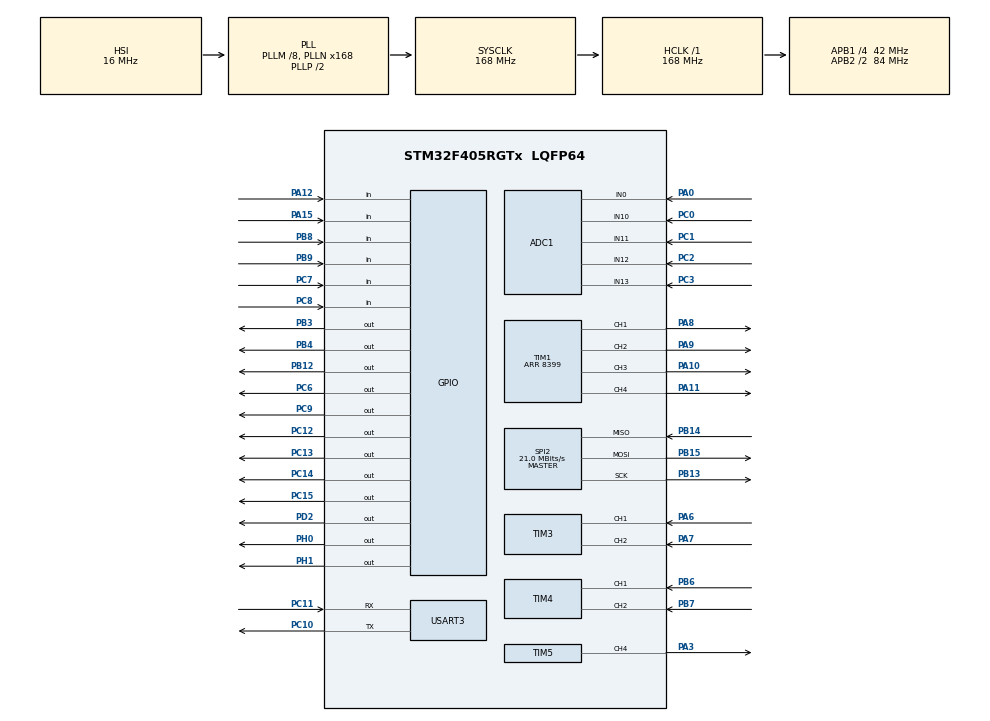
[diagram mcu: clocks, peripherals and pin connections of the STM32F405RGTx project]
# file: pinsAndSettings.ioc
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ADC1.Channel-0\#ChannelRegularConversion=ADC_CHANNEL_0
ADC1.Channel-1\#ChannelRegularConversion=ADC_CHANNEL_13
ADC1.Channel-2\#ChannelRegularConversion=ADC_CHANNEL_12
ADC1.Channel-3\#ChannelRegularConversion=ADC_CHANNEL_11
ADC1.Channel-4\#ChannelRegularConversion=ADC_CHANNEL_10
ADC1.ContinuousConvMode=ENABLE
ADC1.DMAContinuousRequests=ENABLE
ADC1.NbrOfConversion=5
ADC1.NbrOfConversionFlag=1
ADC1.Rank-0\#ChannelRegularConversion=1
ADC1.Rank-1\#ChannelRegularConversion=2
ADC1.Rank-2\#ChannelRegularConversion=3
ADC1.Rank-3\#ChannelRegularConversion=4
ADC1.Rank-4\#ChannelRegularConversion=5
ADC1.SamplingTime-0\#ChannelRegularConversion=ADC_SAMPLETIME_28CYCLES
ADC1.SamplingTime-1\#ChannelRegularConversion=ADC_SAMPLETIME_28CYCLES
ADC1.SamplingTime-2\#ChannelRegularConversion=ADC_SAMPLETIME_28CYCLES
ADC1.SamplingTime-3\#ChannelRegularConversion=ADC_SAMPLETIME_28CYCLES
ADC1.SamplingTime-4\#ChannelRegularConversion=ADC_SAMPLETIME_28CYCLES
ADC1.ScanConvMode=ENABLE
ADC1.master=1
Dma.ADC1.0.Direction=DMA_PERIPH_TO_MEMORY
Dma.ADC1.0.FIFOMode=DMA_FIFOMODE_DISABLE
Dma.ADC1.0.Instance=DMA2_Stream0
Dma.ADC1.0.MemDataAlignment=DMA_MDATAALIGN_HALFWORD
Dma.ADC1.0.MemInc=DMA_MINC_ENABLE
Dma.ADC1.0.Mode=DMA_CIRCULAR
Dma.ADC1.0.PeriphDataAlignment=DMA_PDATAALIGN_HALFWORD
Dma.ADC1.0.PeriphInc=DMA_PINC_DISABLE
Dma.ADC1.0.Priority=DMA_PRIORITY_LOW
Dma.Request0=ADC1
Mcu.Family=STM32F4
Mcu.Name=STM32F405RGTx
Mcu.Package=LQFP64
NVIC.DMA2_Stream0_IRQn=true\:0\:0\:false\:false\:true\:false\:true\:true
NVIC.PriorityGroup=NVIC_PRIORITYGROUP_4
NVIC.TIM6_DAC_IRQn=true\:0\:0\:false\:false\:true\:true\:true\:true
PA0-WKUP.Signal=ADCx_IN0
PA10.Signal=S_TIM1_CH3
PA11.Signal=S_TIM1_CH4
PA12.Signal=GPIO_Input
PA13.Mode=Serial_Wire
PA13.Signal=SYS_JTMS-SWDIO
PA14.Mode=Serial_Wire
PA14.Signal=SYS_JTCK-SWCLK
PA15.Signal=GPIO_Input
PA3.Signal=S_TIM5_CH4
PA6.Signal=S_TIM3_CH1
PA7.Signal=S_TIM3_CH2
PA8.Signal=S_TIM1_CH1
PA9.Signal=S_TIM1_CH2
PB12.Signal=GPIO_Output
PB13.Mode=Full_Duplex_Master
PB13.Signal=SPI2_SCK
PB14.Mode=Full_Duplex_Master
PB14.Signal=SPI2_MISO
PB15.Mode=Full_Duplex_Master
PB15.Signal=SPI2_MOSI
PB3.Signal=GPIO_Output
PB4.Signal=GPIO_Output
PB6.Signal=S_TIM4_CH1
PB7.Signal=S_TIM4_CH2
PB8.Signal=GPIO_Input
PB9.Signal=GPIO_Input
PC0.Signal=ADCx_IN10
PC1.Signal=ADCx_IN11
PC10.Mode=Asynchronous
PC10.Signal=USART3_TX
PC11.Mode=Asynchronous
PC11.Signal=USART3_RX
PC12.Signal=GPIO_Output
PC13-ANTI_TAMP.Signal=GPIO_Output
PC14-OSC32_IN.Signal=GPIO_Output
PC15-OSC32_OUT.Signal=GPIO_Output
PC2.Signal=ADCx_IN12
PC3.Signal=ADCx_IN13
PC6.Signal=GPIO_Output
PC7.Signal=GPIO_Input
PC8.Signal=GPIO_Input
PC9.Signal=GPIO_Output
PD2.Signal=GPIO_Output
PH0-OSC_IN.Signal=GPIO_Output
PH1-OSC_OUT.Signal=GPIO_Output
ProjectManager.HeapSize=0x200
ProjectManager.StackSize=0x400
ProjectManager.TargetToolchain=STM32CubeIDE
RCC.48MHZClocksFreq_Value=84000000
RCC.AHBFreq_Value=168000000
RCC.APB1CLKDivider=RCC_HCLK_DIV4
RCC.APB1Freq_Value=42000000
RCC.APB1TimFreq_Value=84000000
RCC.APB2CLKDivider=RCC_HCLK_DIV2
RCC.APB2Freq_Value=84000000
RCC.APB2TimFreq_Value=168000000
RCC.CortexFreq_Value=168000000
RCC.HCLKFreq_Value=168000000
RCC.HSE_VALUE=25000000
RCC.HSI_VALUE=16000000
RCC.LSE_VALUE=32768
RCC.PLLM=8
RCC.PLLN=168
RCC.SYSCLKFreq_VALUE=168000000
RCC.SYSCLKSource=RCC_SYSCLKSOURCE_PLLCLK
RCC.VCOOutputFreq_Value=336000000
SH.ADCx_IN0.0=ADC1_IN0,IN0
SH.ADCx_IN10.0=ADC1_IN10,IN10
SH.ADCx_IN11.0=ADC1_IN11,IN11
SH.ADCx_IN12.0=ADC1_IN12,IN12
SH.ADCx_IN13.0=ADC1_IN13,IN13
SH.S_TIM1_CH1.0=TIM1_CH1,PWM Generation1 CH1
SH.S_TIM1_CH2.0=TIM1_CH2,PWM Generation2 CH2
SH.S_TIM1_CH3.0=TIM1_CH3,PWM Generation3 CH3
SH.S_TIM1_CH4.0=TIM1_CH4,PWM Generation4 CH4
SH.S_TIM3_CH1.0=TIM3_CH1,Encoder_Interface
SH.S_TIM3_CH2.0=TIM3_CH2,Encoder_Interface
SH.S_TIM4_CH1.0=TIM4_CH1,Encoder_Interface
SH.S_TIM4_CH2.0=TIM4_CH2,Encoder_Interface
SH.S_TIM5_CH4.0=TIM5_CH4,PWM Generation4 CH4
SPI2.BaudRatePrescaler=SPI_BAUDRATEPRESCALER_2
SPI2.CalculateBaudRate=21.0 MBits/s
SPI2.Direction=SPI_DIRECTION_2LINES
SPI2.Mode=SPI_MODE_MASTER
SPI2.VirtualType=VM_MASTER
TIM1.Channel-PWM\ Generation1\ CH1=TIM_CHANNEL_1
TIM1.Channel-PWM\ Generation2\ CH2=TIM_CHANNEL_2
TIM1.Channel-PWM\ Generation3\ CH3=TIM_CHANNEL_3
TIM1.Channel-PWM\ Generation4\ CH4=TIM_CHANNEL_4
TIM1.Period=8399
TIM5.Channel-PWM\ Generation4\ CH4=TIM_CHANNEL_4
TIM6.AutoReloadPreload=TIM_AUTORELOAD_PRELOAD_ENABLE
TIM6.Period=4999
TIM6.Prescaler=83
USART3.VirtualMode=VM_ASYNC
VP_TIM1_VS_ClockSourceINT.Mode=Internal
VP_TIM5_VS_ClockSourceINT.Mode=Internal
VP_TIM6_VS_ClockSourceINT.Mode=Enable_Timer
board=custom

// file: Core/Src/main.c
/* USER CODE BEGIN Header */
/**
 ******************************************************************************
 * @file           : main.c
 * @brief          : Main program body
 ******************************************************************************
 * @attention
 *
 * Copyright (c) 2026 STMicroelectronics.
 * All rights reserved.
 *
 * This software is licensed under terms that can be found in the LICENSE file
 * in the root directory of this software component.
 * If no LICENSE file comes with this software, it is provided AS-IS.
 *
 ******************************************************************************
 */
/* USER CODE END Header */
#include "main.h"

/* USER CODE BEGIN Includes */
#include "motors.h"
#include "data_logging.h"
#include "control.h"
#include "bench.h"
#include "sensors.h"
#include <stdio.h>
#include <string.h>
#include <stdlib.h>
/* USER CODE END Includes */

ADC_HandleTypeDef hadc1;
DMA_HandleTypeDef hdma_adc1;

SPI_HandleTypeDef hspi2;

TIM_HandleTypeDef htim1;
TIM_HandleTypeDef htim3;
TIM_HandleTypeDef htim4;
TIM_HandleTypeDef htim5;
TIM_HandleTypeDef htim6;

UART_HandleTypeDef huart3;

/* USER CODE BEGIN PV */

//volatile uint16_t farLeftIR = 0;
//volatile uint16_t leftIR = 0;
//volatile uint16_t middleIR = 0;
//volatile uint16_t rightIR = 0;
//volatile uint16_t farRightIR = 0;

/* USER CODE END PV */

void SystemClock_Config(void);
static void MX_GPIO_Init(void);
static void MX_DMA_Init(void);
static void MX_ADC1_Init(void);
static void MX_SPI2_Init(void);
static void MX_TIM1_Init(void);
static void MX_TIM3_Init(void);
static void MX_TIM4_Init(void);
static void MX_TIM5_Init(void);
static void MX_USART3_UART_Init(void);
static void MX_TIM6_Init(void);

int main(void)
{

  /* MCU Configuration--------------------------------------------------------*/

  /* Reset of all peripherals, Initializes the Flash interface and the Systick. */
  HAL_Init();

  /* Configure the system clock */
  SystemClock_Config();

  /* Initialize all configured peripherals */
  MX_GPIO_Init();
  MX_DMA_Init();
  MX_ADC1_Init();
  MX_SPI2_Init();
  MX_TIM1_Init();
  MX_TIM3_Init();
  MX_TIM4_Init();
  MX_TIM5_Init();
  MX_USART3_UART_Init();
  MX_TIM6_Init();
  /* USER CODE BEGIN 2 */
// TIM1->ARR = 8399;
// TIM1->EGR = TIM_EGR_UG;
 HAL_GPIO_WritePin(GPIOC, GPIO_PIN_6, GPIO_PIN_SET);
 HAL_TIM_PWM_Start(&htim1, TIM_CHANNEL_1);
 HAL_TIM_PWM_Start(&htim1, TIM_CHANNEL_2);
 HAL_TIM_PWM_Start(&htim1, TIM_CHANNEL_3);
 HAL_TIM_PWM_Start(&htim1, TIM_CHANNEL_4);
 HAL_TIM_Encoder_Start(&htim3, TIM_CHANNEL_ALL);
 HAL_TIM_Encoder_Start(&htim4, TIM_CHANNEL_ALL);
 // logging_init();
 controllerInit();
 irBuffInit();
 HAL_GPIO_WritePin(GPIOC, GPIO_PIN_13, GPIO_PIN_SET);
 HAL_GPIO_WritePin(GPIOC, GPIO_PIN_14, GPIO_PIN_SET);
 HAL_GPIO_WritePin(GPIOC, GPIO_PIN_15, GPIO_PIN_SET);
 HAL_GPIO_WritePin(GPIOH, GPIO_PIN_0, GPIO_PIN_SET);
 HAL_GPIO_WritePin(GPIOH, GPIO_PIN_1, GPIO_PIN_SET);
 HAL_TIM_Base_Start_IT(&htim6);
  /* USER CODE END 2 */

  /* Infinite loop */
  /* USER CODE BEGIN WHILE */

 while (1)
 {

//	 farLeftIR = getRawIR(0);
//	 leftIR = getRawIR(1);
//	 middleIR = getRawIR(2);
//	 rightIR = getRawIR(3);
//	 farRightIR = getRawIR(4);

//	 for(int i = 0; i < 100; i++) {
//		 spinPercent(i);
//		 HAL_Delay(50);
//	 }
//	 for(int i = 100; i > -100; i--) {
//		 spinPercent(i);
//		 HAL_Delay(50);
//	 }
//	 for(int i = -100; i < 0; i++) {
//		 spinPercent(i);
//		 HAL_Delay(50);
//	 }
//
//
//   uint8_t rx_char;
//   if (HAL_UART_Receive(&huart3, &rx_char, 1, 0) == HAL_OK)
//   {
//     switch (rx_char)
//     {
//       case 'S':
//       case 's':
//         logging_start();
//         break;
//       case 'D':
//       case 'd':
//         logging_dump_csv();
//         break;
//       case 'E':
//       case 'e':
//         logging_erase();
//         break;
//       default:
//         break;
//     }
//   }
    /* USER CODE END WHILE */

 }
}

void SystemClock_Config(void)
{
  RCC_OscInitTypeDef RCC_OscInitStruct = {0};
  RCC_ClkInitTypeDef RCC_ClkInitStruct = {0};

  /** Configure the main internal regulator output voltage
  */
  __HAL_RCC_PWR_CLK_ENABLE();
  __HAL_PWR_VOLTAGESCALING_CONFIG(PWR_REGULATOR_VOLTAGE_SCALE1);

  /** Initializes the RCC Oscillators according to the specified parameters
  * in the RCC_OscInitTypeDef structure.
  */
  RCC_OscInitStruct.OscillatorType = RCC_OSCILLATORTYPE_HSI;
  RCC_OscInitStruct.HSIState = RCC_HSI_ON;
  RCC_OscInitStruct.HSICalibrationValue = RCC_HSICALIBRATION_DEFAULT;
  RCC_OscInitStruct.PLL.PLLState = RCC_PLL_ON;
  RCC_OscInitStruct.PLL.PLLSource = RCC_PLLSOURCE_HSI;
  RCC_OscInitStruct.PLL.PLLM = 8;
  RCC_OscInitStruct.PLL.PLLN = 168;
  RCC_OscInitStruct.PLL.PLLP = RCC_PLLP_DIV2;
  RCC_OscInitStruct.PLL.PLLQ = 4;
  if (HAL_RCC_OscConfig(&RCC_OscInitStruct) != HAL_OK)
  {
    Error_Handler();
  }

  /** Initializes the CPU, AHB and APB buses clocks
  */
  RCC_ClkInitStruct.ClockType = RCC_CLOCKTYPE_HCLK|RCC_CLOCKTYPE_SYSCLK
                              |RCC_CLOCKTYPE_PCLK1|RCC_CLOCKTYPE_PCLK2;
  RCC_ClkInitStruct.SYSCLKSource = RCC_SYSCLKSOURCE_PLLCLK;
  RCC_ClkInitStruct.AHBCLKDivider = RCC_SYSCLK_DIV1;
  RCC_ClkInitStruct.APB1CLKDivider = RCC_HCLK_DIV4;
  RCC_ClkInitStruct.APB2CLKDivider = RCC_HCLK_DIV2;

  if (HAL_RCC_ClockConfig(&RCC_ClkInitStruct, FLASH_LATENCY_5) != HAL_OK)
  {
    Error_Handler();
  }
}

static void MX_ADC1_Init(void)
{

  ADC_ChannelConfTypeDef sConfig = {0};

  /** Configure the global features of the ADC (Clock, Resolution, Data Alignment and number of conversion)
  */
  hadc1.Instance = ADC1;
  hadc1.Init.ClockPrescaler = ADC_CLOCK_SYNC_PCLK_DIV4;
  hadc1.Init.Resolution = ADC_RESOLUTION_12B;
  hadc1.Init.ScanConvMode = ENABLE;
  hadc1.Init.ContinuousConvMode = ENABLE;
  hadc1.Init.DiscontinuousConvMode = DISABLE;
  hadc1.Init.ExternalTrigConvEdge = ADC_EXTERNALTRIGCONVEDGE_NONE;
  hadc1.Init.ExternalTrigConv = ADC_SOFTWARE_START;
  hadc1.Init.DataAlign = ADC_DATAALIGN_RIGHT;
  hadc1.Init.NbrOfConversion = 5;
  hadc1.Init.DMAContinuousRequests = ENABLE;
  hadc1.Init.EOCSelection = ADC_EOC_SINGLE_CONV;
  if (HAL_ADC_Init(&hadc1) != HAL_OK)
  {
    Error_Handler();
  }

  /** Configure for the selected ADC regular channel its corresponding rank in the sequencer and its sample time.
  */
  sConfig.Channel = ADC_CHANNEL_0;
  sConfig.Rank = 1;
  sConfig.SamplingTime = ADC_SAMPLETIME_28CYCLES;
  if (HAL_ADC_ConfigChannel(&hadc1, &sConfig) != HAL_OK)
  {
    Error_Handler();
  }

  /** Configure for the selected ADC regular channel its corresponding rank in the sequencer and its sample time.
  */
  sConfig.Channel = ADC_CHANNEL_13;
  sConfig.Rank = 2;
  if (HAL_ADC_ConfigChannel(&hadc1, &sConfig) != HAL_OK)
  {
    Error_Handler();
  }

  /** Configure for the selected ADC regular channel its corresponding rank in the sequencer and its sample time.
  */
  sConfig.Channel = ADC_CHANNEL_12;
  sConfig.Rank = 3;
  if (HAL_ADC_ConfigChannel(&hadc1, &sConfig) != HAL_OK)
  {
    Error_Handler();
  }

  /** Configure for the selected ADC regular channel its corresponding rank in the sequencer and its sample time.
  */
  sConfig.Channel = ADC_CHANNEL_11;
  sConfig.Rank = 4;
  if (HAL_ADC_ConfigChannel(&hadc1, &sConfig) != HAL_OK)
  {
    Error_Handler();
  }

  /** Configure for the selected ADC regular channel its corresponding rank in the sequencer and its sample time.
  */
  sConfig.Channel = ADC_CHANNEL_10;
  sConfig.Rank = 5;
  if (HAL_ADC_ConfigChannel(&hadc1, &sConfig) != HAL_OK)
  {
    Error_Handler();
  }

}

static void MX_SPI2_Init(void)
{

  /* SPI2 parameter configuration*/
  hspi2.Instance = SPI2;
  hspi2.Init.Mode = SPI_MODE_MASTER;
  hspi2.Init.Direction = SPI_DIRECTION_2LINES;
  hspi2.Init.DataSize = SPI_DATASIZE_8BIT;
  hspi2.Init.CLKPolarity = SPI_POLARITY_LOW;
  hspi2.Init.CLKPhase = SPI_PHASE_1EDGE;
  hspi2.Init.NSS = SPI_NSS_SOFT;
  hspi2.Init.BaudRatePrescaler = SPI_BAUDRATEPRESCALER_2;
  hspi2.Init.FirstBit = SPI_FIRSTBIT_MSB;
  hspi2.Init.TIMode = SPI_TIMODE_DISABLE;
  hspi2.Init.CRCCalculation = SPI_CRCCALCULATION_DISABLE;
  hspi2.Init.CRCPolynomial = 10;
  if (HAL_SPI_Init(&hspi2) != HAL_OK)
  {
    Error_Handler();
  }

}

static void MX_TIM1_Init(void)
{

  TIM_ClockConfigTypeDef sClockSourceConfig = {0};
  TIM_MasterConfigTypeDef sMasterConfig = {0};
  TIM_OC_InitTypeDef sConfigOC = {0};
  TIM_BreakDeadTimeConfigTypeDef sBreakDeadTimeConfig = {0};

  htim1.Instance = TIM1;
  htim1.Init.Prescaler = 0;
  htim1.Init.CounterMode = TIM_COUNTERMODE_UP;
  htim1.Init.Period = 8399;
  htim1.Init.ClockDivision = TIM_CLOCKDIVISION_DIV1;
  htim1.Init.RepetitionCounter = 0;
  htim1.Init.AutoReloadPreload = TIM_AUTORELOAD_PRELOAD_DISABLE;
  if (HAL_TIM_Base_Init(&htim1) != HAL_OK)
  {
    Error_Handler();
  }
  sClockSourceConfig.ClockSource = TIM_CLOCKSOURCE_INTERNAL;
  if (HAL_TIM_ConfigClockSource(&htim1, &sClockSourceConfig) != HAL_OK)
  {
    Error_Handler();
  }
  if (HAL_TIM_PWM_Init(&htim1) != HAL_OK)
  {
    Error_Handler();
  }
  sMasterConfig.MasterOutputTrigger = TIM_TRGO_RESET;
  sMasterConfig.MasterSlaveMode = TIM_MASTERSLAVEMODE_DISABLE;
  if (HAL_TIMEx_MasterConfigSynchronization(&htim1, &sMasterConfig) != HAL_OK)
  {
    Error_Handler();
  }
  sConfigOC.OCMode = TIM_OCMODE_PWM1;
  sConfigOC.Pulse = 0;
  sConfigOC.OCPolarity = TIM_OCPOLARITY_HIGH;
  sConfigOC.OCNPolarity = TIM_OCNPOLARITY_HIGH;
  sConfigOC.OCFastMode = TIM_OCFAST_DISABLE;
  sConfigOC.OCIdleState = TIM_OCIDLESTATE_RESET;
  sConfigOC.OCNIdleState = TIM_OCNIDLESTATE_RESET;
  if (HAL_TIM_PWM_ConfigChannel(&htim1, &sConfigOC, TIM_CHANNEL_1) != HAL_OK)
  {
    Error_Handler();
  }
  if (HAL_TIM_PWM_ConfigChannel(&htim1, &sConfigOC, TIM_CHANNEL_2) != HAL_OK)
  {
    Error_Handler();
  }
  if (HAL_TIM_PWM_ConfigChannel(&htim1, &sConfigOC, TIM_CHANNEL_3) != HAL_OK)
  {
    Error_Handler();
  }
  if (HAL_TIM_PWM_ConfigChannel(&htim1, &sConfigOC, TIM_CHANNEL_4) != HAL_OK)
  {
    Error_Handler();
  }
  sBreakDeadTimeConfig.OffStateRunMode = TIM_OSSR_DISABLE;
  sBreakDeadTimeConfig.OffStateIDLEMode = TIM_OSSI_DISABLE;
  sBreakDeadTimeConfig.LockLevel = TIM_LOCKLEVEL_OFF;
  sBreakDeadTimeConfig.DeadTime = 0;
  sBreakDeadTimeConfig.BreakState = TIM_BREAK_DISABLE;
  sBreakDeadTimeConfig.BreakPolarity = TIM_BREAKPOLARITY_HIGH;
  sBreakDeadTimeConfig.AutomaticOutput = TIM_AUTOMATICOUTPUT_DISABLE;
  if (HAL_TIMEx_ConfigBreakDeadTime(&htim1, &sBreakDeadTimeConfig) != HAL_OK)
  {
    Error_Handler();
  }
  HAL_TIM_MspPostInit(&htim1);

}

static void MX_TIM3_Init(void)
{

  TIM_Encoder_InitTypeDef sConfig = {0};
  TIM_MasterConfigTypeDef sMasterConfig = {0};

  htim3.Instance = TIM3;
  htim3.Init.Prescaler = 0;
  htim3.Init.CounterMode = TIM_COUNTERMODE_UP;
  htim3.Init.Period = 65535;
  htim3.Init.ClockDivision = TIM_CLOCKDIVISION_DIV1;
  htim3.Init.AutoReloadPreload = TIM_AUTORELOAD_PRELOAD_DISABLE;
  sConfig.EncoderMode = TIM_ENCODERMODE_TI1;
  sConfig.IC1Polarity = TIM_ICPOLARITY_RISING;
  sConfig.IC1Selection = TIM_ICSELECTION_DIRECTTI;
  sConfig.IC1Prescaler = TIM_ICPSC_DIV1;
  sConfig.IC1Filter = 0;
  sConfig.IC2Polarity = TIM_ICPOLARITY_RISING;
  sConfig.IC2Selection = TIM_ICSELECTION_DIRECTTI;
  sConfig.IC2Prescaler = TIM_ICPSC_DIV1;
  sConfig.IC2Filter = 0;
  if (HAL_TIM_Encoder_Init(&htim3, &sConfig) != HAL_OK)
  {
    Error_Handler();
  }
  sMasterConfig.MasterOutputTrigger = TIM_TRGO_RESET;
  sMasterConfig.MasterSlaveMode = TIM_MASTERSLAVEMODE_DISABLE;
  if (HAL_TIMEx_MasterConfigSynchronization(&htim3, &sMasterConfig) != HAL_OK)
  {
    Error_Handler();
  }

}

static void MX_TIM4_Init(void)
{

  TIM_Encoder_InitTypeDef sConfig = {0};
  TIM_MasterConfigTypeDef sMasterConfig = {0};

  htim4.Instance = TIM4;
  htim4.Init.Prescaler = 0;
  htim4.Init.CounterMode = TIM_COUNTERMODE_UP;
  htim4.Init.Period = 65535;
  htim4.Init.ClockDivision = TIM_CLOCKDIVISION_DIV1;
  htim4.Init.AutoReloadPreload = TIM_AUTORELOAD_PRELOAD_DISABLE;
  sConfig.EncoderMode = TIM_ENCODERMODE_TI1;
  sConfig.IC1Polarity = TIM_ICPOLARITY_RISING;
  sConfig.IC1Selection = TIM_ICSELECTION_DIRECTTI;
  sConfig.IC1Prescaler = TIM_ICPSC_DIV1;
  sConfig.IC1Filter = 0;
  sConfig.IC2Polarity = TIM_ICPOLARITY_RISING;
  sConfig.IC2Selection = TIM_ICSELECTION_DIRECTTI;
  sConfig.IC2Prescaler = TIM_ICPSC_DIV1;
  sConfig.IC2Filter = 0;
  if (HAL_TIM_Encoder_Init(&htim4, &sConfig) != HAL_OK)
  {
    Error_Handler();
  }
  sMasterConfig.MasterOutputTrigger = TIM_TRGO_RESET;
  sMasterConfig.MasterSlaveMode = TIM_MASTERSLAVEMODE_DISABLE;
  if (HAL_TIMEx_MasterConfigSynchronization(&htim4, &sMasterConfig) != HAL_OK)
  {
    Error_Handler();
  }

}

static void MX_TIM5_Init(void)
{

  TIM_ClockConfigTypeDef sClockSourceConfig = {0};
  TIM_MasterConfigTypeDef sMasterConfig = {0};
  TIM_OC_InitTypeDef sConfigOC = {0};

  htim5.Instance = TIM5;
  htim5.Init.Prescaler = 0;
  htim5.Init.CounterMode = TIM_COUNTERMODE_UP;
  htim5.Init.Period = 4294967295;
  htim5.Init.ClockDivision = TIM_CLOCKDIVISION_DIV1;
  htim5.Init.AutoReloadPreload = TIM_AUTORELOAD_PRELOAD_DISABLE;
  if (HAL_TIM_Base_Init(&htim5) != HAL_OK)
  {
    Error_Handler();
  }
  sClockSourceConfig.ClockSource = TIM_CLOCKSOURCE_INTERNAL;
  if (HAL_TIM_ConfigClockSource(&htim5, &sClockSourceConfig) != HAL_OK)
  {
    Error_Handler();
  }
  if (HAL_TIM_PWM_Init(&htim5) != HAL_OK)
  {
    Error_Handler();
  }
  sMasterConfig.MasterOutputTrigger = TIM_TRGO_RESET;
  sMasterConfig.MasterSlaveMode = TIM_MASTERSLAVEMODE_DISABLE;
  if (HAL_TIMEx_MasterConfigSynchronization(&htim5, &sMasterConfig) != HAL_OK)
  {
    Error_Handler();
  }
  sConfigOC.OCMode = TIM_OCMODE_PWM1;
  sConfigOC.Pulse = 0;
  sConfigOC.OCPolarity = TIM_OCPOLARITY_HIGH;
  sConfigOC.OCFastMode = TIM_OCFAST_DISABLE;
  if (HAL_TIM_PWM_ConfigChannel(&htim5, &sConfigOC, TIM_CHANNEL_4) != HAL_OK)
  {
    Error_Handler();
  }
  HAL_TIM_MspPostInit(&htim5);

}

static void MX_TIM6_Init(void)
{

  TIM_MasterConfigTypeDef sMasterConfig = {0};

  htim6.Instance = TIM6;
  htim6.Init.Prescaler = 83;
  htim6.Init.CounterMode = TIM_COUNTERMODE_UP;
  htim6.Init.Period = 4999;
  htim6.Init.AutoReloadPreload = TIM_AUTORELOAD_PRELOAD_ENABLE;
  if (HAL_TIM_Base_Init(&htim6) != HAL_OK)
  {
    Error_Handler();
  }
  sMasterConfig.MasterOutputTrigger = TIM_TRGO_RESET;
  sMasterConfig.MasterSlaveMode = TIM_MASTERSLAVEMODE_DISABLE;
  if (HAL_TIMEx_MasterConfigSynchronization(&htim6, &sMasterConfig) != HAL_OK)
  {
    Error_Handler();
  }

}

static void MX_USART3_UART_Init(void)
{

  huart3.Instance = USART3;
  huart3.Init.BaudRate = 115200;
  huart3.Init.WordLength = UART_WORDLENGTH_8B;
  huart3.Init.StopBits = UART_STOPBITS_1;
  huart3.Init.Parity = UART_PARITY_NONE;
  huart3.Init.Mode = UART_MODE_TX_RX;
  huart3.Init.HwFlowCtl = UART_HWCONTROL_NONE;
  huart3.Init.OverSampling = UART_OVERSAMPLING_16;
  if (HAL_UART_Init(&huart3) != HAL_OK)
  {
    Error_Handler();
  }

}

static void MX_DMA_Init(void)
{

  /* DMA controller clock enable */
  __HAL_RCC_DMA2_CLK_ENABLE();

  /* DMA interrupt init */
  /* DMA2_Stream0_IRQn interrupt configuration */
  HAL_NVIC_SetPriority(DMA2_Stream0_IRQn, 0, 0);
  HAL_NVIC_EnableIRQ(DMA2_Stream0_IRQn);

}

static void MX_GPIO_Init(void)
{
  GPIO_InitTypeDef GPIO_InitStruct = {0};

  /* GPIO Ports Clock Enable */
  __HAL_RCC_GPIOC_CLK_ENABLE();
  __HAL_RCC_GPIOH_CLK_ENABLE();
  __HAL_RCC_GPIOA_CLK_ENABLE();
  __HAL_RCC_GPIOB_CLK_ENABLE();
  __HAL_RCC_GPIOD_CLK_ENABLE();

  /*Configure GPIO pin Output Level */
  HAL_GPIO_WritePin(GPIOC, GPIO_PIN_13|GPIO_PIN_14|GPIO_PIN_15|GPIO_PIN_6
                          |GPIO_PIN_9|GPIO_PIN_12, GPIO_PIN_RESET);

  /*Configure GPIO pin Output Level */
  HAL_GPIO_WritePin(GPIOH, GPIO_PIN_0|GPIO_PIN_1, GPIO_PIN_RESET);

  /*Configure GPIO pin Output Level */
  HAL_GPIO_WritePin(GPIOB, GPIO_PIN_12|GPIO_PIN_3|GPIO_PIN_4, GPIO_PIN_RESET);

  /*Configure GPIO pin Output Level */
  HAL_GPIO_WritePin(GPIOD, GPIO_PIN_2, GPIO_PIN_RESET);

  /*Configure GPIO pins : PC13 PC14 PC15 PC6
                           PC9 PC12 */
  GPIO_InitStruct.Pin = GPIO_PIN_13|GPIO_PIN_14|GPIO_PIN_15|GPIO_PIN_6
                          |GPIO_PIN_9|GPIO_PIN_12;
  GPIO_InitStruct.Mode = GPIO_MODE_OUTPUT_PP;
  GPIO_InitStruct.Pull = GPIO_NOPULL;
  GPIO_InitStruct.Speed = GPIO_SPEED_FREQ_LOW;
  HAL_GPIO_Init(GPIOC, &GPIO_InitStruct);

  /*Configure GPIO pins : PH0 PH1 */
  GPIO_InitStruct.Pin = GPIO_PIN_0|GPIO_PIN_1;
  GPIO_InitStruct.Mode = GPIO_MODE_OUTPUT_PP;
  GPIO_InitStruct.Pull = GPIO_NOPULL;
  GPIO_InitStruct.Speed = GPIO_SPEED_FREQ_LOW;
  HAL_GPIO_Init(GPIOH, &GPIO_InitStruct);

  /*Configure GPIO pins : PB12 PB3 PB4 */
  GPIO_InitStruct.Pin = GPIO_PIN_12|GPIO_PIN_3|GPIO_PIN_4;
  GPIO_InitStruct.Mode = GPIO_MODE_OUTPUT_PP;
  GPIO_InitStruct.Pull = GPIO_NOPULL;
  GPIO_InitStruct.Speed = GPIO_SPEED_FREQ_LOW;
  HAL_GPIO_Init(GPIOB, &GPIO_InitStruct);

  /*Configure GPIO pins : PC7 PC8 */
  GPIO_InitStruct.Pin = GPIO_PIN_7|GPIO_PIN_8;
  GPIO_InitStruct.Mode = GPIO_MODE_INPUT;
  GPIO_InitStruct.Pull = GPIO_NOPULL;
  HAL_GPIO_Init(GPIOC, &GPIO_InitStruct);

  /*Configure GPIO pins : PA12 PA15 */
  GPIO_InitStruct.Pin = GPIO_PIN_12|GPIO_PIN_15;
  GPIO_InitStruct.Mode = GPIO_MODE_INPUT;
  GPIO_InitStruct.Pull = GPIO_NOPULL;
  HAL_GPIO_Init(GPIOA, &GPIO_InitStruct);

  /*Configure GPIO pin : PD2 */
  GPIO_InitStruct.Pin = GPIO_PIN_2;
  GPIO_InitStruct.Mode = GPIO_MODE_OUTPUT_PP;
  GPIO_InitStruct.Pull = GPIO_NOPULL;
  GPIO_InitStruct.Speed = GPIO_SPEED_FREQ_LOW;
  HAL_GPIO_Init(GPIOD, &GPIO_InitStruct);

  /*Configure GPIO pins : PB8 PB9 */
  GPIO_InitStruct.Pin = GPIO_PIN_8|GPIO_PIN_9;
  GPIO_InitStruct.Mode = GPIO_MODE_INPUT;
  GPIO_InitStruct.Pull = GPIO_NOPULL;
  HAL_GPIO_Init(GPIOB, &GPIO_InitStruct);

}

/* USER CODE BEGIN 4 */
/**
 * @brief  Timer interrupt callback - fires when TIM6 overflows
 * @param  htim: pointer to a TIM_HandleTypeDef structure
 * @retval None
 */
void HAL_TIM_PeriodElapsedCallback(TIM_HandleTypeDef *htim) {
   if (htim->Instance != TIM6) return;

   benchTick();

   if (robotMode == MODE_RUN) controlTick();

   if (logging_active) {
       logging_record();
       log_time_ms += 5;

       if (log_time_ms >= 30000) logging_stop();
   }
}

/* USER CODE END 4 */

void Error_Handler(void)
{
 __disable_irq();
 while (1)
 {
 }
}
